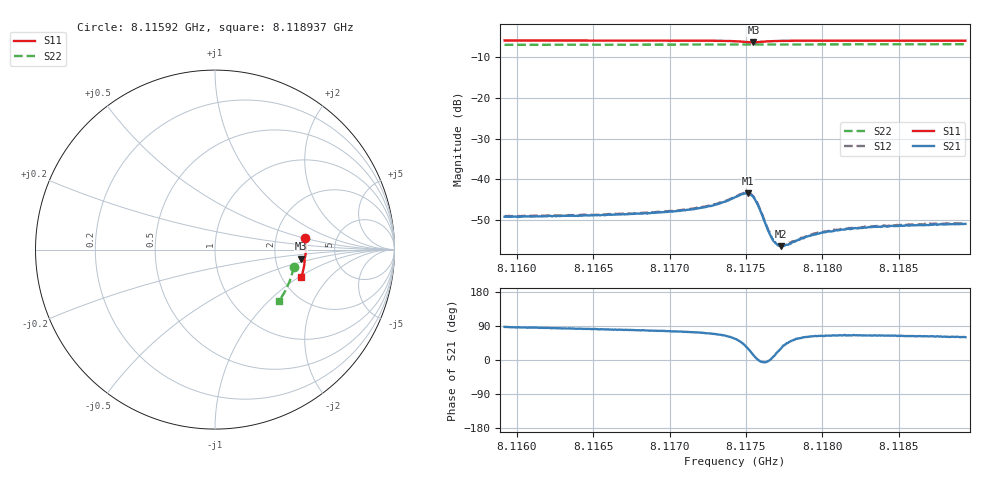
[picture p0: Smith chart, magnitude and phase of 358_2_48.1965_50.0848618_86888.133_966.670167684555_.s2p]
#  HZ  S  RI  R  50.00
! Rohde & Schwarz Vector Network Analyzer
! Rohde-Schwarz,ZNB20-2Port,1311601062101988,3.16
! Created: UTC 3/20/2024, 11:52:05 AM
! freq[Hz]  re:S11  im:S11  re:S21  im:S21  re:S12  im:S12  re:S22  im:S22
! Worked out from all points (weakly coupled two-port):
!   401 points, 8.11592 GHz to 8.118937 GHz, reference 50 ohm
!   highest |S21| = -43.39 dB at 8.117511 GHz (marker M1); lowest = -56.4 dB at 8.11773 GHz (marker M2)
!   lowest |S11| = -6.3 dB at 8.117549 GHz (marker M3), VSWR 2.86, Z = 140 - j18.4 ohm
!   |S11| at or under -10 dB: nowhere
!   |S22| runs from -7.0 to -6.8 dB; largest |S21 - S12| = 0.00019
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8.1159198e9  0.5033 0.0641  0.000162 0.00348  0.000233 0.00353  0.4381 -0.0957
8.1164252e9  0.5061 0.0262  0.000472 0.00354  0.00054 0.00363  0.4307 -0.1298
8.1169305e9  0.5056 -0.0126  0.00088 0.00384  0.000946 0.00389  0.4203 -0.1635
8.1170588e9  0.5049 -0.0228  0.00106 0.00397  0.00112 0.00402  0.4174 -0.1721
8.1172247e9  0.5029 -0.0368  0.00145 0.00431  0.00152 0.00437  0.4132 -0.183
8.1173228e9  0.5004 -0.0459  0.00198 0.00462  0.00205 0.00472  0.4105 -0.1892
8.1174284e9  0.4938 -0.0563  0.00338 0.00502  0.00348 0.00508  0.4072 -0.1961
8.1174812e9  0.4863 -0.059  0.00484 0.00451  0.00498 0.00458  0.4056 -0.1996
8.1175113e9  0.4811 -0.0571  0.0058 0.00349  0.0059 0.00351  0.4045 -0.2011
8.117534e9  0.4789 -0.0533  0.00605 0.00223  0.00621 0.00224  0.4039 -0.2023
8.117549e9  0.4789 -0.0503  0.00591 0.00134  0.00604 0.00131  0.4035 -0.203
8.1175792e9  0.4828 -0.0458  0.00483 5.84e-05  0.0049 -9.12e-06  0.4026 -0.2047
8.1176471e9  0.4935 -0.0482  0.00232 -9.68e-05  0.00235 -0.000113  0.4014 -0.209
8.1176773e9  0.496 -0.0517  0.00179 0.000251  0.00178 0.000217  0.4006 -0.2111
8.1176999e9  0.4972 -0.0544  0.00153 0.000509  0.00153 0.000488  0.3999 -0.2125
8.1177301e9  0.4981 -0.0578  0.00131 0.000769  0.00132 0.000788  0.399 -0.2145
8.1177753e9  0.4988 -0.0625  0.00112 0.00111  0.00116 0.00115  0.3978 -0.2174
8.1179337e9  0.4984 -0.0771  0.000961 0.00184  0.000998 0.00189  0.3927 -0.2273
8.1180242e9  0.4974 -0.0847  0.000975 0.00204  0.000987 0.00207  0.3897 -0.2331
8.11816e9  0.4956 -0.0954  0.00103 0.00224  0.00106 0.00226  0.3851 -0.2414
8.1184391e9  0.491 -0.1166  0.00115 0.0024  0.0012 0.00245  0.3749 -0.2582
8.1189369e9  0.4807 -0.1526  0.00141 0.00247  0.00142 0.00253  0.3552 -0.287
